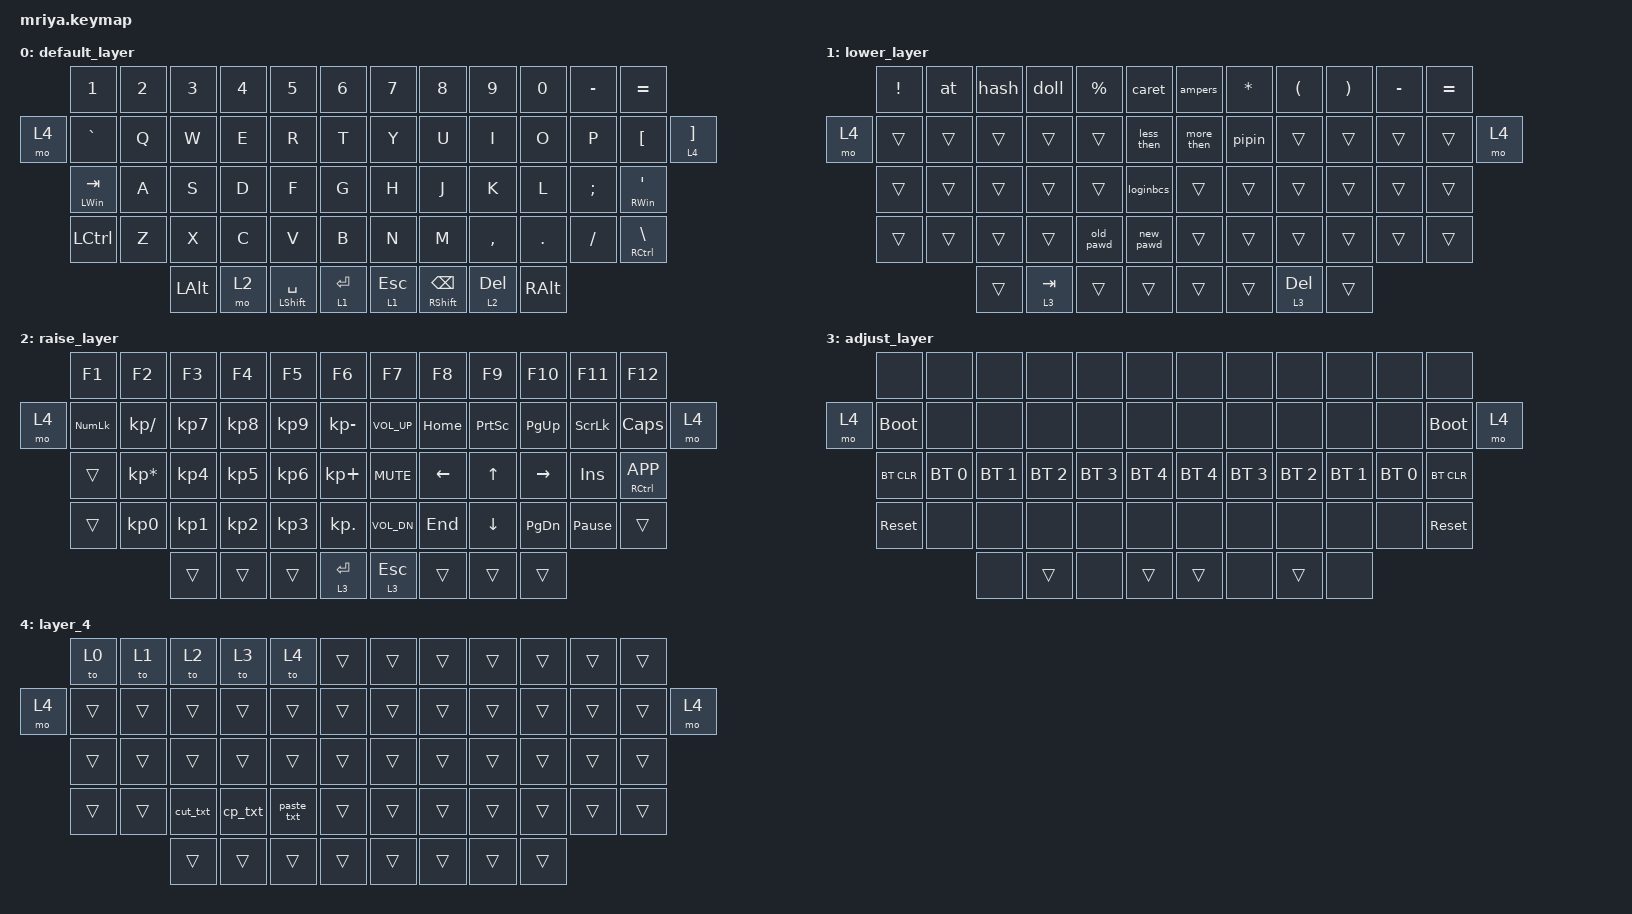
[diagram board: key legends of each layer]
/*
 * Copyright (c) 2023 Andrei Gaevskii
 *
 * SPDX-License-Identifier: MIT
 */

#include "private_macros.zmk"
#include <behaviors.dtsi>
#include <dt-bindings/zmk/bt.h>
#include <dt-bindings/zmk/keys.h>

#define DEF 0
#define LWR 1
#define RSE 2
#define ADJ 3

&lt { quick_tap_ms = <90>; };

&mt { quick_tap_ms = <90>; };

/ {
    combos {
        compatible = "zmk,combos";

        new_combo {
            bindings = <&ch_lng>;
            key-positions = <52 43>;
        };

        vi_quit {
            bindings = <&vi_quit>;
            key-positions = <14 15>;
        };

        f12_combo_l {
            bindings = <&kp F12>;
            key-positions = <0 1>;
        };

        ctrl_-_l {
            bindings = <&go_back_1c>;
            key-positions = <13 14>;
        };

        f12_combo_r {
            bindings = <&kp F12>;
            key-positions = <10 11>;
        };

        ctrl_-_r {
            bindings = <&go_back_1c>;
            key-positions = <23 24>;
        };

        ctrl_t_l {
            bindings = <&find_modul_1c>;
            key-positions = <17 18>;
        };

        backspase {
            bindings = <&kp BACKSPACE>;
            key-positions = <55 44>;
        };

        delete {
            bindings = <&kp DELETE>;
            key-positions = <56 45>;
        };

        list_bookmark {
            bindings = <&list_bookmark>;
            key-positions = <0 1 2>;
        };

        list_breakpoint {
            bindings = <&list_breakpoint>;
            key-positions = <9 8 10>;
        };

        chlngmac {
            bindings = <&chlngmac>;
            key-positions = <42 51>;
        };
    };

    macros {
        ampers: ampers {
            compatible = "zmk,behavior-macro";
            label = "AMPERS";
            #binding-cells = <0>;
            wait-ms = <105>;
            tap-ms = <105>;
            bindings =
                <&macro_press>,
                <&kp LEFT_ALT>,
                <&macro_tap>,
                <&kp KP_N3 &kp KP_N8>,
                <&macro_release>,
                <&kp LALT>;
        };

        less_then: less_then {
            compatible = "zmk,behavior-macro";
            label = "LESS_THEN";
            #binding-cells = <0>;
            wait-ms = <105>;
            tap-ms = <105>;
            bindings =
                <&macro_press>,
                <&kp LEFT_ALT>,
                <&macro_tap>,
                <&kp KP_N0 &kp KP_N6 &kp KP_N0>,
                <&macro_release>,
                <&kp LALT>;
        };

        more_then: more_then {
            compatible = "zmk,behavior-macro";
            label = "MORE_THEN";
            #binding-cells = <0>;
            wait-ms = <105>;
            tap-ms = <105>;
            bindings =
                <&macro_press>,
                <&kp LALT>,
                <&macro_tap>,
                <&kp KP_N0 &kp KP_N6 &kp KP_N2>,
                <&macro_release>,
                <&kp LALT>;
        };

        pipin: pipin {
            compatible = "zmk,behavior-macro";
            label = "PIPIN";
            #binding-cells = <0>;
            wait-ms = <105>;
            tap-ms = <105>;
            bindings =
                <&macro_press>,
                <&kp LALT>,
                <&macro_tap>,
                <&kp KP_N1 &kp KP_N2 &kp KP_N4>,
                <&macro_release>,
                <&kp LALT>;
        };

        at: at {
            compatible = "zmk,behavior-macro";
            label = "at";
            #binding-cells = <0>;
            wait-ms = <105>;
            tap-ms = <105>;
            bindings =
                <&macro_press>,
                <&kp LALT>,
                <&macro_tap>,
                <&kp KP_N6 &kp KP_N4>,
                <&macro_release>,
                <&kp LALT>;
        };

        hash: hash {
            compatible = "zmk,behavior-macro";
            label = "hash";
            #binding-cells = <0>;
            wait-ms = <105>;
            tap-ms = <105>;
            bindings =
                <&macro_press>,
                <&kp LALT>,
                <&macro_tap>,
                <&kp KP_N3 &kp KP_N5>,
                <&macro_release>,
                <&kp LALT>;
        };

        doll: doll {
            compatible = "zmk,behavior-macro";
            label = "doll";
            #binding-cells = <0>;
            wait-ms = <105>;
            tap-ms = <105>;
            bindings =
                <&macro_press>,
                <&kp LALT>,
                <&macro_tap>,
                <&kp KP_N3 &kp KP_N6>,
                <&macro_release>,
                <&kp LALT>;
        };

        caret: caret {
            compatible = "zmk,behavior-macro";
            label = "caret";
            #binding-cells = <0>;
            wait-ms = <105>;
            tap-ms = <105>;
            bindings =
                <&macro_press>,
                <&kp LALT>,
                <&macro_tap>,
                <&kp KP_N9 &kp KP_N4>,
                <&macro_release>,
                <&kp LALT>;
        };

        cut_txt: cut_txt {
            compatible = "zmk,behavior-macro";
            label = "cut_txt";
            #binding-cells = <0>;
            wait-ms = <105>;
            tap-ms = <105>;
            bindings =
                <&macro_press>,
                <&kp RSHFT>,
                <&macro_tap>,
                <&kp DEL>,
                <&macro_release>,
                <&kp RSHFT>;
        };

        cp_txt: cp_txt {
            compatible = "zmk,behavior-macro";
            label = "cp_txt";
            #binding-cells = <0>;
            wait-ms = <105>;
            tap-ms = <105>;
            bindings =
                <&macro_press>,
                <&kp RCTRL>,
                <&macro_tap>,
                <&kp INS>,
                <&macro_release>,
                <&kp RCTRL>;
        };

        paste_txt: paste_txt {
            compatible = "zmk,behavior-macro";
            label = "paste_txt";
            #binding-cells = <0>;
            wait-ms = <105>;
            tap-ms = <105>;
            bindings =
                <&macro_press>,
                <&kp RSHFT>,
                <&macro_tap>,
                <&kp INS>,
                <&macro_release>,
                <&kp RSHFT>;
        };

        ch_lng: ch_lng {
            compatible = "zmk,behavior-macro";
            label = "ch_lng";
            #binding-cells = <0>;
            wait-ms = <105>;
            tap-ms = <105>;
            bindings =
                <&macro_press>,
                <&kp LALT>,
                <&macro_tap>,
                <&kp RSHFT>,
                <&macro_release>,
                <&kp LALT>;
        };

        vi_quit: vi_quit {
            compatible = "zmk,behavior-macro";
            label = "vi_quit";
            #binding-cells = <0>;
            wait-ms = <105>;
            tap-ms = <105>;
            bindings =
                <&macro_press>,
                <&kp LSHFT>,
                <&macro_tap>,
                <&kp SEMI>,
                <&macro_release>,
                <&kp LSHFT>,
                <&macro_tap>,
                <&kp W &kp Q &kp RET>;
        };

        go_back_1c: go_back_1c {
            compatible = "zmk,behavior-macro";
            label = "go_back_1c";
            #binding-cells = <0>;
            wait-ms = <105>;
            tap-ms = <105>;
            bindings =
                <&macro_press>,
                <&kp RCTRL>,
                <&macro_tap>,
                <&kp MINUS>,
                <&macro_release>,
                <&kp RCTRL>;
        };

        find_modul_1c: find_modul_1c {
            compatible = "zmk,behavior-macro";
            label = "find_modul_1c";
            #binding-cells = <0>;
            wait-ms = <105>;
            tap-ms = <105>;
            bindings =
                <&macro_press>,
                <&kp RCTRL>,
                <&macro_tap>,
                <&kp T>,
                <&macro_release>,
                <&kp RCTRL>;
        };

        list_bookmark: list_bookmark {
            compatible = "zmk,behavior-macro";
            label = "list_bookmark";
            #binding-cells = <0>;
            wait-ms = <105>;
            tap-ms = <105>;
            bindings =
                <&macro_press>,
                <&kp LCTRL &kp LSHFT>,
                <&macro_tap>,
                <&kp F2>,
                <&macro_release>,
                <&kp LCTRL &kp LSHFT>;
        };

        list_breakpoint: list_breakpoint {
            compatible = "zmk,behavior-macro";
            label = "list_breakpoint";
            #binding-cells = <0>;
            wait-ms = <105>;
            tap-ms = <105>;
            bindings =
                <&macro_press>,
                <&kp LCTRL &kp LSHFT>,
                <&macro_tap>,
                <&kp F9>,
                <&macro_release>,
                <&kp LCTRL &kp LSHFT>;
        };

        chlngmac: chlngmac {
            compatible = "zmk,behavior-macro";
            #binding-cells = <0>;
            bindings =
                <&macro_press>,
                <&kp LEFT_ALT>,
                <&macro_tap>,
                <&kp Z>,
                <&macro_release>,
                <&kp LEFT_ALT>;

            label = "CHLNGMAC";
        };
    };

    keymap {
        compatible = "zmk,keymap";

        default_layer {
            bindings = <
       &kp NUMBER_1  &kp NUMBER_2  &kp NUMBER_3  &kp NUMBER_4  &kp NUMBER_5     &kp NUMBER_6    &kp NUMBER_7  &kp NUMBER_8    &kp NUMBER_9  &kp NUMBER_0   &kp MINUS  &kp EQUAL
&mo 4  &kp GRAVE     &kp Q         &kp W         &kp E         &kp R            &kp T           &kp Y         &kp U           &kp I         &kp O          &kp P      &kp LBKT        &lt 4 RBKT
       &mt LWIN TAB  &kp A         &kp S         &kp D         &kp F            &kp G           &kp H         &kp J           &kp K         &kp L          &kp SEMI   &mt RWIN SQT
       &kp LCTRL     &kp Z         &kp X         &kp C         &kp V            &kp B           &kp N         &kp M           &kp COMMA     &kp DOT        &kp FSLH   &mt RCTRL BSLH
                                   &kp LALT      &mo 2         &mt LSHFT SPACE  &lt 1 RET       &lt 1 ESC     &mt RSHFT BSPC  &lt 2 DEL     &kp RIGHT_ALT
            >;
        };

        lower_layer {
            bindings = <
       &kp EXCL  &at     &hash   &doll      &kp PRCNT  &caret        &ampers     &kp STAR  &kp LPAR   &kp RPAR  &kp MINUS  &kp EQUAL
&mo 4  &trans    &trans  &trans  &trans     &trans     &less_then    &more_then  &pipin    &trans     &trans    &trans     &trans     &mo 4
       &trans    &trans  &trans  &trans     &trans     &loginbcs     &trans      &trans    &trans     &trans    &trans     &trans
       &trans    &trans  &trans  &trans     &old_pawd  &new_pawd     &trans      &trans    &trans     &trans    &trans     &trans
                         &trans  &lt 3 TAB  &trans     &trans        &trans      &trans    &lt 3 DEL  &trans
            >;
        };

        raise_layer {
            bindings = <
       &kp F1      &kp F2           &kp F3     &kp F4     &kp F5     &kp F6          &kp F7        &kp F8    &kp F9     &kp F10    &kp F11          &kp F12
&mo 4  &kp KP_NUM  &kp KP_SLASH     &kp KP_N7  &kp KP_N8  &kp KP_N9  &kp KP_MINUS    &kp C_VOL_UP  &kp HOME  &kp PSCRN  &kp PG_UP  &kp SLCK         &kp CAPS         &mo 4
       &trans      &kp KP_MULTIPLY  &kp KP_N4  &kp KP_N5  &kp KP_N6  &kp KP_PLUS     &kp C_MUTE    &kp LEFT  &kp UP     &kp RIGHT  &kp INS          &mt RCTRL K_APP
       &trans      &kp KP_N0        &kp KP_N1  &kp KP_N2  &kp KP_N3  &kp KP_DOT      &kp C_VOL_DN  &kp END   &kp DOWN   &kp PG_DN  &kp PAUSE_BREAK  &trans
                                    &trans     &trans     &trans     &lt 3 RET       &lt 3 ESC     &trans    &trans     &trans
            >;
        };

        adjust_layer {
            bindings = <
       &none        &none         &none         &none         &none         &none           &none         &none         &none         &none         &none         &none
&mo 4  &bootloader  &none         &none         &none         &none         &none           &none         &none         &none         &none         &none         &bootloader  &mo 4
       &bt BT_CLR   &bt BT_SEL 0  &bt BT_SEL 1  &bt BT_SEL 2  &bt BT_SEL 3  &bt BT_SEL 4    &bt BT_SEL 4  &bt BT_SEL 3  &bt BT_SEL 2  &bt BT_SEL 1  &bt BT_SEL 0  &bt BT_CLR
       &sys_reset   &none         &none         &none         &none         &none           &none         &none         &none         &none         &none         &sys_reset
                                  &none         &trans        &none         &trans          &trans        &none         &trans        &none
            >;
        };

        layer_4 {
            bindings = <
       &to 0   &to 1   &to 2     &to 3    &to 4       &trans    &trans  &trans  &trans  &trans  &trans  &trans
&mo 4  &trans  &trans  &trans    &trans   &trans      &trans    &trans  &trans  &trans  &trans  &trans  &trans  &mo 4
       &trans  &trans  &trans    &trans   &trans      &trans    &trans  &trans  &trans  &trans  &trans  &trans
       &trans  &trans  &cut_txt  &cp_txt  &paste_txt  &trans    &trans  &trans  &trans  &trans  &trans  &trans
                       &trans    &trans   &trans      &trans    &trans  &trans  &trans  &trans
            >;
        };
    };
};
